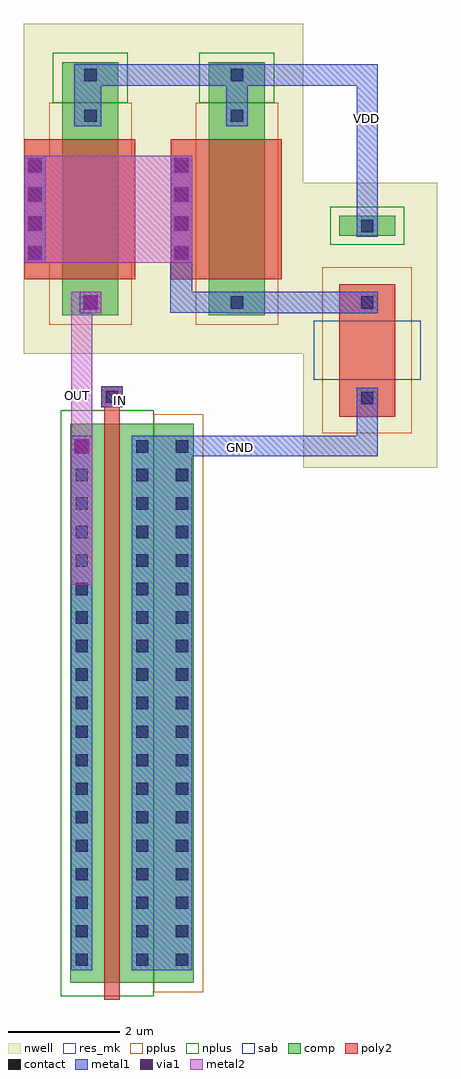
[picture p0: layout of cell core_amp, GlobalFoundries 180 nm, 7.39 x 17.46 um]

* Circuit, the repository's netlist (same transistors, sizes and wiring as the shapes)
* Extracted by KLayout with GF180MCU LVS runset on : 10/09/2026 19:13

* cell core_amp
* pin B,GND
* pin B,VDD
* pin G
* pin G,IN
* pin OUT
.SUBCKT core_amp B|GND B|VDD G G|IN OUT
* device instance $1 r0 *1 4.08,17.93 pfet_03v3
M$1 B|VDD G G B|VDD pfet_03v3 L=2.5U W=1U AS=0.65P AD=0.65P PS=3.3U PD=3.3U
* device instance $2 r0 *1 1.46,17.93 pfet_03v3
M$2 B|VDD G OUT B|VDD pfet_03v3 L=2.5U W=1U AS=0.65P AD=0.65P PS=3.3U PD=3.3U
* device instance $3 r0 *1 1.845,9.095 nfet_03v3
M$3 B|GND G|IN OUT B|GND nfet_03v3 L=0.28U W=10U AS=6.1P AD=6.1P PS=21.22U
+ PD=21.22U
* device instance $4 r0 *1 6.41,15.405 ppolyf_u
R$4 B|GND G B|VDD 367.5 ppolyf_u L=1.05U W=1U
.ENDS core_amp

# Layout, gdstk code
import gdstk
lib = gdstk.Library(unit=1e-6, precision=5e-09)
def R(c, l, rs):  # rectangles x0, y0, x1, y1
    for r in rs: c.add(gdstk.rectangle(r[:2], r[2:], *l))
def A(c, l, x, y, w, h, nx, ny, dx, dy):  # array of equal rectangles
    R(c, l, [(x+i*dx, y+j*dy, x+i*dx+w, y+j*dy+h) for i in range(nx) for j in range(ny)])
def P(c, l, *ps):  # polygons
    for p in ps: c.add(gdstk.Polygon(p, *l))
nwell = (21, 0)
comp = (22, 0)
poly2 = (30, 0)
pplus = (31, 0)
nplus = (32, 0)
contact = (33, 0)
metal1 = (34, 0)
via1 = (35, 0)
metal2 = (36, 0)
sab = (49, 0)
res_mk = (110, 5)

core_amp = lib.new_cell('core_amp')
R(core_amp, nwell, [(9.51,19.16,11.89,25.07), (11.89,19.16,12.13,25.07)])
P(core_amp, nwell, [(14.51,17.125),(14.51,19.16),(12.13,19.16),(12.13,25.07),(14.51,25.07),(14.51,22.22),(16.9,22.22),(16.9,17.125)])
R(core_amp, comp, [(10.335,7.915,10.755,17.915), (10.755,7.915,11.415,17.915), (11.415,7.915,11.835,17.915), (11.835,7.915,12.545,17.915), (10.2,19.85,11.2,20.31), (12.82,19.85,13.82,20.31), (10.2,20.31,11.2,23.19), (12.82,20.31,13.82,23.19), (15.15,21.27,16.15,21.63), (10.2,23.19,11.2,23.65), (12.82,23.19,13.82,23.65), (10.2,23.65,11.2,24.38), (12.82,23.65,13.82,24.38)])
R(core_amp, poly2, [(10.945,7.615,11.225,18.215), (15.15,18.04,16.15,20.41), (10.905,18.215,11.265,18.575), (9.52,20.5,9.9,23), (9.9,20.5,11.5,23), (12.14,20.5,12.52,23), (12.52,20.5,14.12,23)])
R(core_amp, pplus, [(11.835,7.745,12.715,18.085), (14.85,17.74,16.45,20.71), (9.96,19.68,11.44,23.65), (12.58,19.68,14.06,23.65)])
R(core_amp, nplus, [(10.165,7.675,11.835,18.155), (14.99,21.11,16.31,21.79), (10.03,23.65,11.37,24.55), (12.65,23.65,13.99,24.55)])
A(core_amp, contact, 10.435, 8.215, 0.22, 0.22, 1, 19, 0, 0.51)
A(core_amp, contact, 11.515, 8.215, 0.22, 0.22, 1, 19, 0, 0.51)
A(core_amp, contact, 12.225, 8.215, 0.22, 0.22, 1, 19, 0, 0.51)
A(core_amp, contact, 9.6, 20.875, 0.22, 0.22, 1, 4, 0, 0.51)
A(core_amp, contact, 12.22, 20.875, 0.22, 0.22, 1, 4, 0, 0.51)
R(core_amp, contact, [(15.54,18.26,15.76,18.48), (10.975,18.285,11.195,18.505), (10.59,19.97,10.81,20.19), (13.21,19.97,13.43,20.19), (15.54,19.97,15.76,20.19), (15.54,21.34,15.76,21.56), (10.59,23.31,10.81,23.53), (13.21,23.31,13.43,23.53), (10.59,24.04,10.81,24.26), (13.21,24.04,13.43,24.26)])
R(core_amp, metal1, [(10.355,8.135,10.735,17.695), (11.435,8.135,11.815,17.695), (12.145,8.135,12.525,17.695), (10.895,18.205,11.275,18.585), (10.51,19.89,10.89,20.27), (13.13,19.89,13.51,20.27), (13.51,19.89,15.84,20.27), (12.13,19.895,13.13,20.27), (12.13,20.27,12.52,20.795), (9.52,20.795,9.9,22.705), (12.14,20.795,12.52,22.705), (10.415,23.23,10.51,24.34), (10.51,23.23,10.89,23.61), (13.13,23.23,13.51,23.61), (13.13,23.605,13.51,23.96), (10.51,23.61,10.89,23.96), (10.51,23.96,10.89,24.34), (10.89,23.96,13.13,24.34), (13.13,23.96,13.51,24.34)])
P(core_amp, metal1, [(15.46,21.26),(15.46,23.96),(13.51,23.96),(13.51,24.34),(15.84,24.34),(15.84,21.26)],
  [(11.815,8.135),(11.815,17.695),(15.46,17.695),(15.46,18.56),(15.84,18.56),(15.84,17.335),(12.145,17.335),(12.145,8.135)])
A(core_amp, via1, 9.58, 21.365, 0.26, 0.26, 1, 3, 0, 0.52)
A(core_amp, via1, 12.2, 21.365, 0.26, 0.26, 1, 3, 0, 0.52)
R(core_amp, via1, [(10.415,17.375,10.675,17.635), (10.57,19.95,10.83,20.21), (10.59,19.97,10.81,20.19), (9.58,20.835,9.84,21.095), (12.2,20.835,12.46,21.095)])
R(core_amp, metal2, [(10.355,15.03,10.735,20.27), (10.435,19.89,10.89,20.27), (9.52,20.795,12.52,22.705)])
R(core_amp, sab, [(14.695,18.7,16.605,19.75)])
R(core_amp, res_mk, [(15.15,18.7,16.15,19.75)])
core_amp.add(gdstk.Label('OUT', (10.465,18.42), layer=34, texttype=10))
core_amp.add(gdstk.Label('GND', (13.375,17.485), layer=34, texttype=10))
core_amp.add(gdstk.Label('IN', (11.245,18.33), layer=34, texttype=10))
core_amp.add(gdstk.Label('VDD', (15.63,23.375), layer=34, texttype=10))

lib.write_gds('core_amp.gds')
